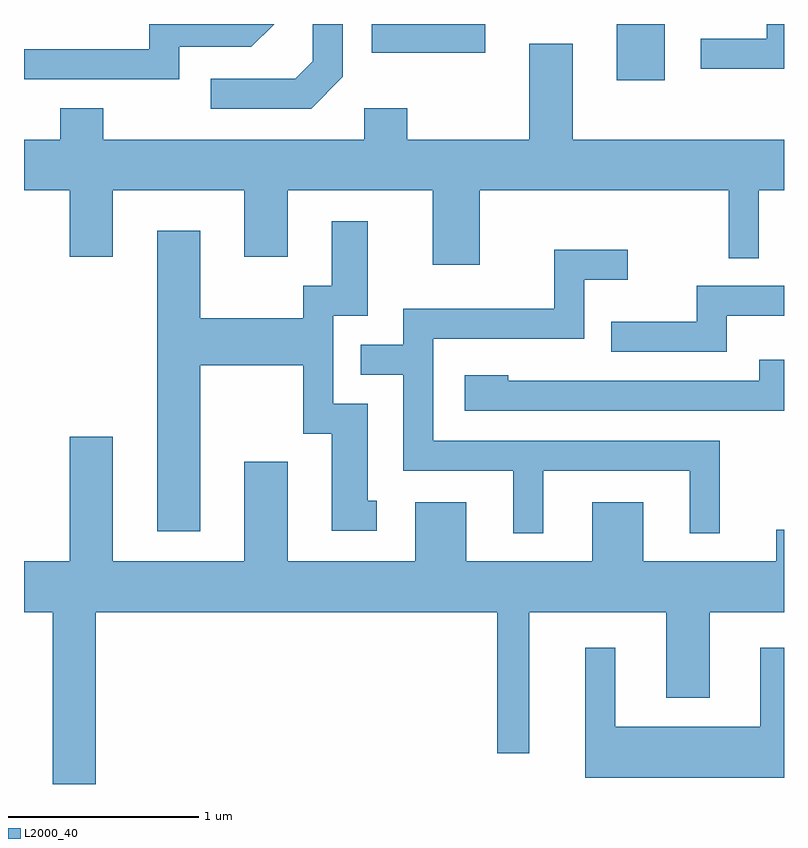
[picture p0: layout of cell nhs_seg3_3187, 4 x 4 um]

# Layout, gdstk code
import gdstk
lib = gdstk.Library(unit=1e-6, precision=1e-09)
def R(c, l, rs):  # rectangles x0, y0, x1, y1
    for r in rs: c.add(gdstk.rectangle(r[:2], r[2:], *l))
def P(c, l, *ps):  # polygons
    for p in ps: c.add(gdstk.Polygon(p, *l))
L2000_40 = (2000, 40)

nhs_seg3_3187 = lib.new_cell('nhs_seg3_3187')
R(nhs_seg3_3187, L2000_40, [(280.731,1237.596,280.984,1237.892), (279.441,1237.741,280.039,1237.892)])
P(nhs_seg3_3187, L2000_40, [(281.611,1237.892),(281.521,1237.892),(281.521,1237.814),(281.173,1237.814),(281.173,1237.656),(281.611,1237.656)],
  [(279.289,1237.614),(279.289,1237.892),(279.131,1237.892),(279.131,1237.697),(279.039,1237.604),(278.593,1237.604),(278.593,1237.446),(279.122,1237.446)],
  [(278.429,1237.771),(278.807,1237.771),(278.927,1237.892),(278.271,1237.892),(278.271,1237.759),(277.611,1237.759),(277.611,1237.601),(278.429,1237.601)],
  [(280.009,1237.016),(281.321,1237.016),(281.321,1236.658),(281.479,1236.658),(281.479,1237.016),(281.611,1237.016),(281.611,1237.284),(280.499,1237.284),(280.499,1237.789),(280.271,1237.789),(280.271,1237.284),(279.629,1237.284),(279.629,1237.449),(279.401,1237.449),(279.401,1237.284),(278.029,1237.284),(278.029,1237.449),(277.801,1237.449),(277.801,1237.284),(277.611,1237.284),(277.611,1237.016),(277.851,1237.016),(277.851,1236.666),(278.079,1236.666),(278.079,1237.016),(278.771,1237.016),(278.771,1236.666),(278.999,1236.666),(278.999,1237.016),(279.761,1237.016),(279.761,1236.626),(280.009,1236.626)],
  [(278.539,1236.096),(279.081,1236.096),(279.081,1235.736),(279.231,1235.736),(279.231,1235.226),(279.468,1235.226),(279.468,1235.384),(279.419,1235.384),(279.419,1235.894),(279.239,1235.894),(279.239,1236.356),(279.419,1236.356),(279.419,1236.854),(279.231,1236.854),(279.231,1236.514),(279.081,1236.514),(279.081,1236.344),(278.539,1236.344),(278.539,1236.804),(278.311,1236.804),(278.311,1235.221),(278.539,1235.221)],
  [(280.344,1235.541),(281.116,1235.541),(281.116,1235.213),(281.274,1235.213),(281.274,1235.699),(279.764,1235.699),(279.764,1236.236),(280.559,1236.236),(280.559,1236.546),(280.788,1236.546),(280.788,1236.704),(280.401,1236.704),(280.401,1236.394),(279.606,1236.394),(279.606,1236.204),(279.383,1236.204),(279.383,1236.046),(279.606,1236.046),(279.606,1235.541),(280.186,1235.541),(280.186,1235.213),(280.344,1235.213)],
  [(281.309,1236.356),(281.611,1236.356),(281.611,1236.514),(281.151,1236.514),(281.151,1236.324),(280.703,1236.324),(280.703,1236.166),(281.309,1236.166)],
  [(281.611,1236.124),(281.481,1236.124),(281.481,1236.014),(280.159,1236.014),(280.159,1236.044),(279.931,1236.044),(279.931,1235.856),(281.611,1235.856)],
  [(277.989,1234.796),(280.101,1234.796),(280.101,1234.053),(280.269,1234.053),(280.269,1234.796),(280.991,1234.796),(280.991,1234.346),(281.219,1234.346),(281.219,1234.796),(281.611,1234.796),(281.611,1235.229),(281.571,1235.229),(281.571,1235.064),(280.869,1235.064),(280.869,1235.374),(280.601,1235.374),(280.601,1235.064),(279.939,1235.064),(279.939,1235.374),(279.671,1235.374),(279.671,1235.064),(278.999,1235.064),(278.999,1235.589),(278.771,1235.589),(278.771,1235.064),(278.079,1235.064),(278.079,1235.719),(277.851,1235.719),(277.851,1235.064),(277.611,1235.064),(277.611,1234.796),(277.761,1234.796),(277.761,1233.892),(277.989,1233.892)],
  [(281.611,1234.608),(281.486,1234.608),(281.486,1234.194),(280.724,1234.194),(280.724,1234.608),(280.566,1234.608),(280.566,1233.926),(281.611,1233.926)])

lib.write_gds('nhs_seg3_3187.gds')
